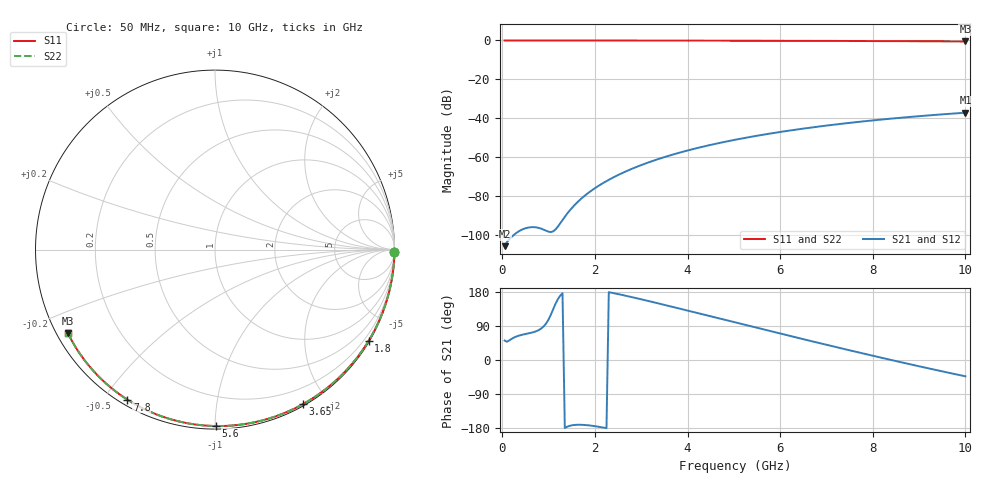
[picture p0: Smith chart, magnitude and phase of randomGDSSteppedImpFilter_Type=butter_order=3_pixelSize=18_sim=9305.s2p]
! freq	dB(S11)	phase(S11)	dB(S12)	phase(S12)
!  dB(S21)	phase(S21)	dB(S22)	phase(S22)
!S-par simulation data
#  GHz  S  DB  R 50
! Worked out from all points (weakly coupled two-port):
!   200 points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, 50 MHz to 10 GHz, reference 50 ohm
!   highest |S21| = -37.14 dB at 10 GHz (marker M1); lowest = -105.8 dB at 50 MHz (marker M2)
!   lowest |S11| = -0.5 dB at 10 GHz (marker M3), VSWR 33.85, Z = 1.58 - j13.3 ohm
!   |S11| at or under -10 dB: nowhere
!   |S22| runs from -0.5 to 0.0 dB; largest |S21 - S12| = 0
!   S11 on the Smith chart (normalised r, x): 50 MHz: open; 1.8 GHz: 0.03, -3.65; 3.65 GHz: 0.02, -1.72; 5.6 GHz: 0.02, -1.01; 7.8 GHz: 0.02, -0.57; 10 GHz: 0.03, -0.27
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0.05  -0.00 -0.9  -105.80 51.4  -105.80 51.4  -0.00 -0.9
0.85  -0.02 -14.6  -96.89 83.9  -96.89 83.9  -0.02 -14.6
1.3  -0.03 -22.2  -92.33 176.1  -92.33 176.1  -0.03 -22.2
1.75  -0.04 -29.8  -80.44 -171.2  -80.44 -171.2  -0.04 -29.8
1.8  -0.04 -30.6  -79.46 -171.7  -79.46 -171.7  -0.04 -30.6
1.95  -0.04 -33.1  -76.79 -173.7  -76.79 -173.7  -0.04 -33.1
2.1  -0.05 -35.6  -74.45 -176.5  -74.45 -176.5  -0.05 -35.6
2.3  -0.05 -38.9  -71.67 179.0  -71.67 179.0  -0.05 -38.9
2.5  -0.05 -42.1  -69.21 174.0  -69.21 174.0  -0.05 -42.1
2.9  -0.06 -48.6  -65.03 163.1  -65.03 163.1  -0.06 -48.6
3.4  -0.08 -56.6  -60.75 148.5  -60.75 148.5  -0.08 -56.6
3.65  -0.08 -60.5  -58.92 141.0  -58.92 141.0  -0.08 -60.5
4.3  -0.10 -70.5  -54.81 121.3  -54.81 121.3  -0.10 -70.5
5.05  -0.13 -81.7  -50.97 98.5  -50.97 98.5  -0.13 -81.7
5.6  -0.15 -89.7  -48.60 81.8  -48.60 81.8  -0.15 -89.7
6.15  -0.17 -97.5  -46.53 65.3  -46.53 65.3  -0.17 -97.6
6.7  -0.21 -105.2  -44.69 49.0  -44.69 49.0  -0.21 -105.3
7.25  -0.24 -112.8  -43.06 32.8  -43.06 32.8  -0.24 -112.8
7.8  -0.28 -120.3  -41.60 16.9  -41.60 16.9  -0.28 -120.3
8.35  -0.33 -127.7  -40.30 1.4  -40.30 1.4  -0.33 -127.8
9.2  -0.41 -139.3  -38.55 -22.0  -38.55 -22.0  -0.42 -139.3
10  -0.51 -150.3  -37.14 -43.0  -37.14 -43.0  -0.51 -150.3
